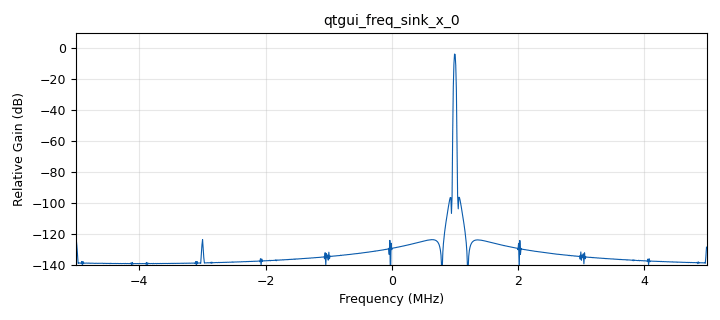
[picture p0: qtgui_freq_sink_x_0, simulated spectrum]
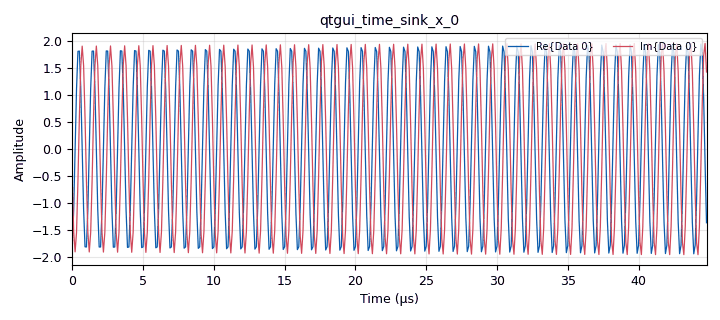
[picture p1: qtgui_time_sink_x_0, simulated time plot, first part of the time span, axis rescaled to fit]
options:
  parameters:
    author: fran
    generate_options: qt_gui
    id: TPAMb
    output_language: python
    title: Not titled yet
  states: {}

blocks:
- name: m
  id: variable
  parameters:
    value: range_m
  states: {}
- name: range_m
  id: variable_qtgui_range
  parameters:
    orient: Qt.Horizontal
    start: '0'
    step: '0.01'
    stop: '1'
    value: '1'
  states: {}
- name: samp_rate
  id: variable
  parameters:
    value: 10e6
  states: {}
- name: analog_sig_source_x_0
  id: analog_sig_source_x
  parameters:
    amp: '1'
    freq: '1000'
    offset: '0'
    phase: '0'
    samp_rate: samp_rate
    type: complex
    waveform: analog.GR_SIN_WAVE
  states: {}
- name: analog_sig_source_x_0_0
  id: analog_sig_source_x
  parameters:
    amp: '1'
    comment: Portadora
    freq: 1e6
    offset: '0'
    phase: '0'
    samp_rate: samp_rate
    type: complex
    waveform: analog.GR_COS_WAVE
  states: {}
- name: blocks_add_xx_0
  id: blocks_add_xx
  parameters:
    type: complex
  states: {}
- name: blocks_file_sink_0
  id: blocks_file_sink
  parameters:
    file: /home/fran/Documents/UCA/4to año/Radiodifusión/git/Radiodifusion/TP1/Parte2/TPAMb.dat
    type: complex
  states: {}
- name: blocks_multiply_const_vxx_0
  id: blocks_multiply_const_vxx
  parameters:
    const: m
    type: complex
  states: {}
- name: blocks_multiply_xx_0_0
  id: blocks_multiply_xx
  parameters:
    type: complex
  states: {}
- name: blocks_throttle_0
  id: blocks_throttle
  parameters:
    samples_per_second: samp_rate
    type: complex
  states: {}
- name: qtgui_freq_sink_x_0
  id: qtgui_freq_sink_x
  parameters:
    bw: samp_rate
    fc: '0'
    fftsize: '1024'
    type: complex
    wintype: firdes.WIN_BLACKMAN_hARRIS
  states: {}
- name: qtgui_time_sink_x_0
  id: qtgui_time_sink_x
  parameters:
    size: '1024'
    srate: samp_rate
    type: complex
  states: {}

connections:
- [analog_sig_source_x_0, '0', blocks_multiply_xx_0_0, '0']
- [analog_sig_source_x_0_0, '0', blocks_add_xx_0, '1']
- [analog_sig_source_x_0_0, '0', blocks_multiply_xx_0_0, '1']
- [blocks_add_xx_0, '0', blocks_throttle_0, '0']
- [blocks_multiply_const_vxx_0, '0', blocks_add_xx_0, '0']
- [blocks_multiply_xx_0_0, '0', blocks_multiply_const_vxx_0, '0']
- [blocks_throttle_0, '0', blocks_file_sink_0, '0']
- [blocks_throttle_0, '0', qtgui_freq_sink_x_0, '0']
- [blocks_throttle_0, '0', qtgui_time_sink_x_0, '0']

metadata:
  file_format: 1
